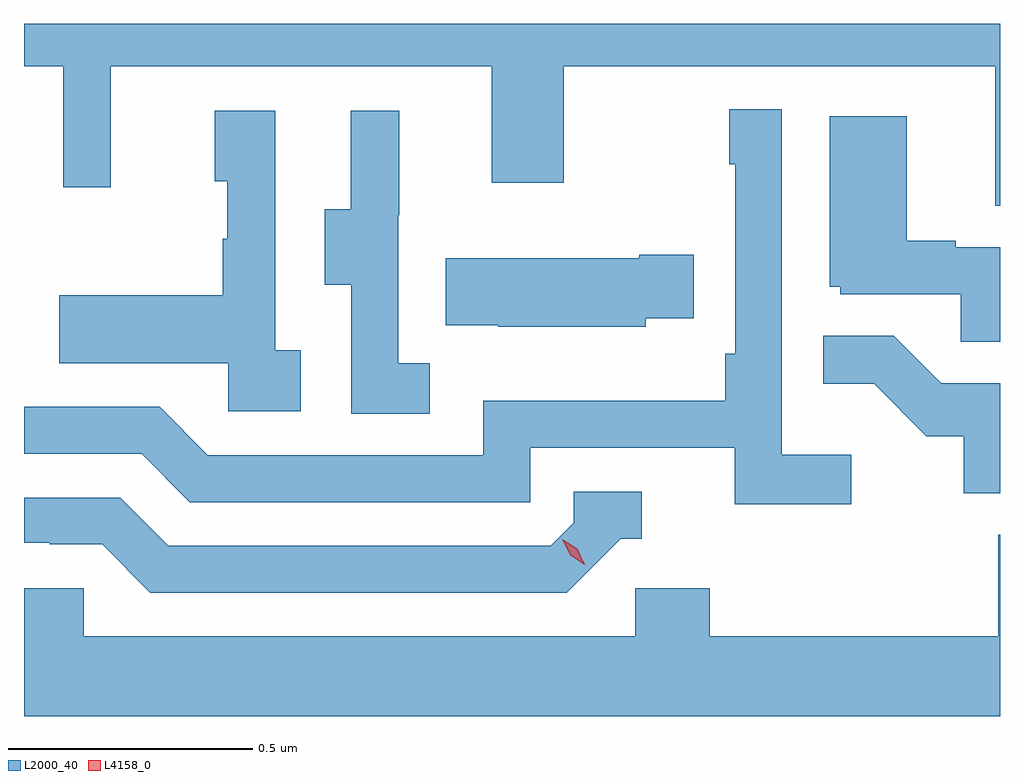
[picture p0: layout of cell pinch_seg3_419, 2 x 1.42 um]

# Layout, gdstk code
import gdstk
lib = gdstk.Library(unit=1e-6, precision=1e-09)
def P(c, l, *ps):  # polygons
    for p in ps: c.add(gdstk.Polygon(p, *l))
L2000_40 = (2000, 40)
L4158_0 = (4158, 0)

pinch_seg3_419 = lib.new_cell('pinch_seg3_419')
P(pinch_seg3_419, L2000_40, [(924.711,694.343),(922.711,694.343),(922.711,694.256),(922.791,694.256),(922.791,694.008),(922.889,694.008),(922.889,694.256),(923.669,694.256),(923.669,694.017),(923.817,694.017),(923.817,694.256),(924.701,694.256),(924.701,693.97),(924.711,693.97)],
  [(924.406,693.46),(924.264,693.46),(924.264,694.168),(924.156,694.168),(924.156,694.055),(924.168,694.055),(924.168,693.667),(924.148,693.667),(924.148,693.571),(923.652,693.571),(923.652,693.459),(923.088,693.459),(922.989,693.558),(922.711,693.558),(922.711,693.462),(922.952,693.462),(923.051,693.363),(923.748,693.363),(923.748,693.474),(924.167,693.474),(924.167,693.358),(924.406,693.358)],
  [(923.278,693.674),(923.226,693.674),(923.226,694.165),(923.102,694.165),(923.102,694.02),(923.128,694.02),(923.128,693.902),(923.118,693.902),(923.118,693.787),(922.783,693.787),(922.783,693.647),(923.13,693.647),(923.13,693.549),(923.278,693.549)],
  [(923.542,693.647),(923.478,693.647),(923.478,693.951),(923.48,693.951),(923.48,694.165),(923.381,694.165),(923.381,693.963),(923.327,693.963),(923.327,693.808),(923.382,693.808),(923.382,693.544),(923.542,693.544)],
  [(924.711,693.885),(924.62,693.885),(924.62,693.898),(924.52,693.898),(924.52,694.153),(924.362,694.153),(924.362,693.804),(924.384,693.804),(924.384,693.789),(924.631,693.789),(924.631,693.691),(924.711,693.691)],
  [(923.985,693.74),(924.083,693.74),(924.083,693.87),(923.972,693.87),(923.972,693.862),(923.575,693.862),(923.575,693.725),(923.683,693.725),(923.683,693.722),(923.985,693.722)],
  [(924.711,693.606),(924.591,693.606),(924.493,693.704),(924.349,693.704),(924.349,693.605),(924.453,693.605),(924.56,693.498),(924.637,693.498),(924.637,693.381),(924.711,693.381)],
  [(923.934,693.288),(923.977,693.288),(923.977,693.384),(923.838,693.384),(923.838,693.321),(923.79,693.273),(923.007,693.273),(922.908,693.372),(922.711,693.372),(922.711,693.279),(922.764,693.279),(922.764,693.276),(922.871,693.276),(922.97,693.177),(923.823,693.177)],
  [(924.711,693.296),(924.707,693.296),(924.707,693.088),(924.116,693.088),(924.116,693.186),(923.964,693.186),(923.964,693.088),(922.833,693.088),(922.833,693.186),(922.711,693.186),(922.711,692.924),(924.711,692.924)])
P(pinch_seg3_419, L4158_0, [(923.86,693.234),(923.83,693.254),(923.814,693.287),(923.814,693.287),(923.814,693.287),(923.845,693.267),(923.86,693.234),(923.86,693.234)])

lib.write_gds('pinch_seg3_419.gds')
